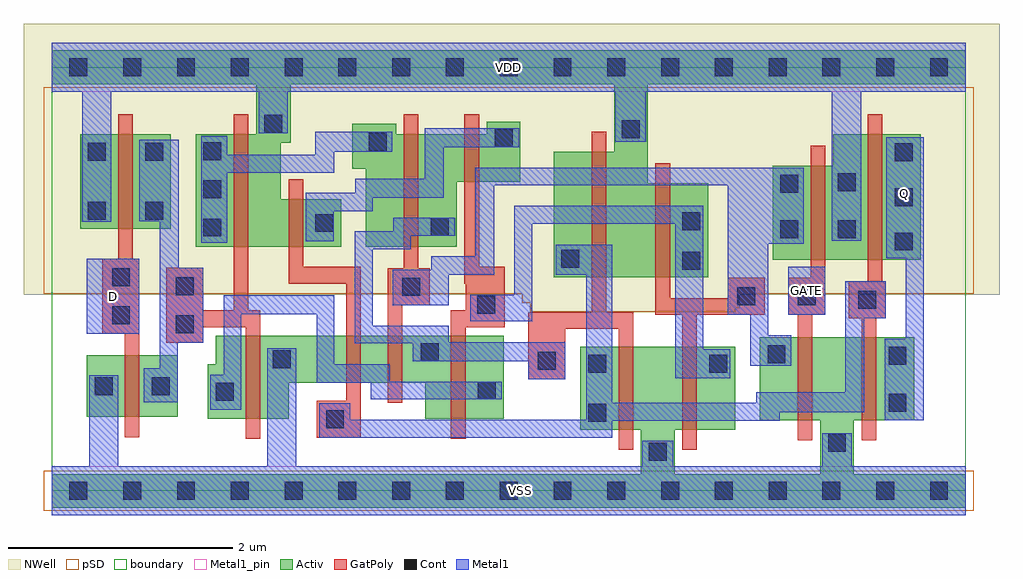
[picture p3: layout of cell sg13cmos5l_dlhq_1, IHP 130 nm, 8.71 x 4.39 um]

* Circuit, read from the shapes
.subckt sg13cmos5l_dlhq_1 D GATE Q VDD VSS
XM1 n1 D VSS VSS sg13_lv_nmos w=0.55u l=0.13u
XM2 VSS n1 n2 VSS sg13_lv_nmos w=0.74u l=0.13u
XM3 n3 n4 VSS VSS sg13_lv_nmos w=0.42u l=0.13u
XM4 n5 n6 n3 VSS sg13_lv_nmos w=0.42u l=0.13u
XM5 n2 n7 n5 VSS sg13_lv_nmos w=0.74u l=0.13u
XM6 VSS n5 n4 VSS sg13_lv_nmos w=0.74u l=0.13u
XM7 n7 n6 VSS VSS sg13_lv_nmos w=0.74u l=0.13u
XM8 VSS GATE n6 VSS sg13_lv_nmos w=0.74u l=0.13u
XM9 Q n4 VSS VSS sg13_lv_nmos w=0.74u l=0.13u
XM10 n1 D VDD VDD sg13_lv_pmos w=0.84u l=0.13u
XM11 VDD n1 n8 VDD sg13_lv_pmos w=1u l=0.13u
XM12 n9 n4 VDD VDD sg13_lv_pmos w=0.42u l=0.13u
XM13 n5 n6 n8 VDD sg13_lv_pmos w=1u l=0.13u
XM14 n9 n7 n5 VDD sg13_lv_pmos w=0.42u l=0.13u
XM15 VDD n5 n4 VDD sg13_lv_pmos w=1.12u l=0.13u
XM16 n7 n6 VDD VDD sg13_lv_pmos w=0.84u l=0.13u
XM17 VDD GATE n6 VDD sg13_lv_pmos w=0.84u l=0.13u
XM18 Q n4 VDD VDD sg13_lv_pmos w=1.12u l=0.13u
.ends

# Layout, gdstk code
import gdstk
lib = gdstk.Library(unit=1e-6, precision=1e-09)
def R(c, l, rs):  # rectangles x0, y0, x1, y1
    for r in rs: c.add(gdstk.rectangle(r[:2], r[2:], *l))
def A(c, l, x, y, w, h, nx, ny, dx, dy):  # array of equal rectangles
    R(c, l, [(x+i*dx, y+j*dy, x+i*dx+w, y+j*dy+h) for i in range(nx) for j in range(ny)])
def P(c, l, *ps):  # polygons
    for p in ps: c.add(gdstk.Polygon(p, *l))
Activ = (1, 0)
GatPoly = (5, 0)
Cont = (6, 0)
Metal1 = (8, 0)
Metal1_pin = (8, 2)
pSD = (14, 0)
NWell = (31, 0)
boundary = (189, 4)

sg13cmos5l_dlhq_1 = lib.new_cell('sg13cmos5l_dlhq_1')
R(sg13cmos5l_dlhq_1, Activ, [(0.315,0.66,1.125,1.21), (0.255,2.34,1.065,3.18)])
P(sg13cmos5l_dlhq_1, Activ, [(0,-0.15),(0,0.15),(5.26,0.15),(5.26,0.545),(4.72,0.545),(4.72,1.285),(6.1,1.285),(6.1,0.545),(5.56,0.545),(5.56,0.15),(6.86,0.15),(6.86,0.63),(6.32,0.63),(6.32,1.37),(7.7,1.37),(7.7,0.63),(7.16,0.63),(7.16,0.15),(8.16,0.15),(8.16,-0.15)],
  [(4.48,1.905),(4.48,3.025),(5.02,3.025),(5.02,3.63),(2.135,3.63),(2.135,3.105),(2.045,3.105),(2.045,2.6),(2.585,2.6),(2.585,2.18),(1.285,2.18),(1.285,3.18),(1.825,3.18),(1.825,3.63),(0,3.63),(0,3.93),(8.16,3.93),(8.16,3.63),(5.32,3.63),(5.32,2.745),(5.86,2.745),(5.86,1.905)],
  [(6.435,2.06),(6.435,2.9),(6.975,2.9),(6.975,3.18),(7.755,3.18),(7.755,2.06)],
  [(2.805,2.18),(2.805,2.875),(2.685,2.875),(2.685,3.275),(3.075,3.275),(3.075,3.18),(3.885,3.18),(3.885,3.295),(4.185,3.295),(4.185,2.76),(3.615,2.76),(3.615,2.18)],
  [(1.395,0.645),(1.395,1.13),(1.465,1.13),(1.465,1.385),(4.035,1.385),(4.035,0.645),(3.335,0.645),(3.335,0.965),(2.115,0.965),(2.115,0.645)])
P(sg13cmos5l_dlhq_1, GatPoly, [(7.23,0.45),(7.23,1.54),(7.115,1.54),(7.115,1.87),(7.285,1.87),(7.285,3.36),(7.415,3.36),(7.415,1.87),(7.445,1.87),(7.445,1.54),(7.36,1.54),(7.36,0.45)],
  [(6.66,0.45),(6.66,1.57),(6.575,1.57),(6.575,1.9),(6.775,1.9),(6.775,3.08),(6.905,3.08),(6.905,1.57),(6.79,1.57),(6.79,0.45)],
  [(5.63,0.365),(5.63,1.57),(5.39,1.57),(5.39,2.925),(5.52,2.925),(5.52,1.72),(6.035,1.72),(6.035,1.9),(6.365,1.9),(6.365,1.57),(5.76,1.57),(5.76,0.365)],
  [(5.06,0.365),(5.06,1.445),(4.585,1.445),(4.585,0.995),(4.255,0.995),(4.255,1.595),(4.82,1.595),(4.82,3.205),(4.95,3.205),(4.95,1.595),(5.19,1.595),(5.19,0.365)],
  [(3.565,0.465),(3.565,1.61),(3.695,1.61),(3.695,1.85),(3.685,1.85),(3.685,3.36),(3.815,3.36),(3.815,2),(4.045,2),(4.045,1.46),(3.695,1.46),(3.695,0.465)],
  [(3,0.785),(3,1.985),(3.145,1.985),(3.145,3.36),(3.275,3.36),(3.275,1.985),(3.375,1.985),(3.375,1.655),(3.13,1.655),(3.13,0.785)],
  [(2.365,0.475),(2.365,0.805),(2.63,0.805),(2.63,1.85),(2.115,1.85),(2.115,2.78),(2.245,2.78),(2.245,2),(2.76,2),(2.76,0.475)],
  [(1.735,0.465),(1.735,1.46),(1.355,1.46),(1.355,1.32),(1.025,1.32),(1.025,1.99),(1.355,1.99),(1.355,1.61),(1.625,1.61),(1.625,3.36),(1.755,3.36),(1.755,1.61),(1.865,1.61),(1.865,0.465)],
  [(0.655,0.48),(0.655,1.4),(0.455,1.4),(0.455,2.07),(0.595,2.07),(0.595,3.36),(0.725,3.36),(0.725,2.07),(0.785,2.07),(0.785,0.48)])
A(sg13cmos5l_dlhq_1, Cont, 0.16, -0.08, 0.16, 0.16, 17, 2, 0.48, 3.78)
A(sg13cmos5l_dlhq_1, Cont, 1.355, 2.27, 0.16, 0.16, 1, 3, 0, 0.34)
R(sg13cmos5l_dlhq_1, Cont, [(5.33,0.27,5.49,0.43), (6.93,0.35,7.09,0.51), (2.45,0.56,2.61,0.72), (4.79,0.615,4.95,0.775), (7.47,0.705,7.63,0.865), (1.465,0.805,1.625,0.965), (3.805,0.815,3.965,0.975), (0.385,0.855,0.545,1.015), (0.895,0.855,1.055,1.015), (4.79,1.055,4.95,1.215), (5.87,1.055,6.03,1.215), (4.34,1.08,4.5,1.24), (1.975,1.095,2.135,1.255), (7.47,1.125,7.63,1.285), (6.39,1.14,6.55,1.3), (3.295,1.155,3.455,1.315), (1.11,1.405,1.27,1.565), (0.54,1.485,0.7,1.645), (3.8,1.58,3.96,1.74), (7.2,1.625,7.36,1.785), (6.12,1.655,6.28,1.815), (6.66,1.655,6.82,1.815), (3.13,1.74,3.29,1.9), (1.11,1.745,1.27,1.905), (0.54,1.825,0.7,1.985), (5.63,1.975,5.79,2.135), (4.55,1.99,4.71,2.15), (7.525,2.145,7.685,2.305), (6.505,2.255,6.665,2.415), (7.015,2.255,7.175,2.415), (3.385,2.275,3.545,2.435), (2.355,2.31,2.515,2.47), (5.63,2.325,5.79,2.485), (0.325,2.42,0.485,2.58), (0.835,2.42,0.995,2.58), (7.525,2.54,7.685,2.7), (6.505,2.66,6.665,2.82), (7.015,2.675,7.175,2.835), (7.525,2.94,7.685,3.1), (0.325,2.945,0.485,3.105), (0.835,2.945,0.995,3.105), (2.83,3.035,2.99,3.195), (3.955,3.065,4.115,3.225), (5.09,3.145,5.25,3.305), (1.9,3.195,2.06,3.355)])
R(sg13cmos5l_dlhq_1, Metal1, [(0.315,1.4,0.785,2.07), (6.575,1.57,6.905,2)])
P(sg13cmos5l_dlhq_1, Metal1, [(0,-0.22),(0,0.22),(0.335,0.22),(0.335,1.03),(0.595,1.03),(0.595,0.22),(1.925,0.22),(1.925,1.27),(2.185,1.27),(2.185,0.22),(5.27,0.22),(5.27,0.445),(5.55,0.445),(5.55,0.22),(6.88,0.22),(6.88,0.515),(7.14,0.515),(7.14,0.22),(8.16,0.22),(8.16,-0.22)],
  [(6.965,2.23),(6.965,3.56),(5.305,3.56),(5.305,3.115),(5.03,3.115),(5.03,3.56),(2.11,3.56),(2.11,3.19),(1.85,3.19),(1.85,3.56),(0.535,3.56),(0.535,2.4),(0.275,2.4),(0.275,3.56),(0,3.56),(0,4),(8.16,4),(8.16,3.56),(7.225,3.56),(7.225,2.23)],
  [(7.435,0.63),(7.435,1.355),(7.625,1.355),(7.625,2.075),(7.45,2.075),(7.45,3.155),(7.785,3.155),(7.785,0.63)],
  [(2.39,0.475),(2.39,0.78),(2.665,0.78),(2.665,0.635),(4.77,0.635),(4.77,1.93),(4.5,1.93),(4.5,2.195),(5.005,2.195),(5.005,0.785),(6.29,0.785),(6.29,0.88),(7.085,0.88),(7.085,1.87),(7.445,1.87),(7.445,1.54),(7.255,1.54),(7.255,0.7),(6.5,0.7),(6.5,0.625),(5.005,0.625),(5.005,0.475)],
  [(6.235,1.115),(6.235,1.57),(6.035,1.57),(6.035,2.725),(3.95,2.725),(3.95,1.93),(3.545,1.93),(3.545,1.655),(3.045,1.655),(3.045,1.975),(3.39,1.975),(3.39,2.095),(3.78,2.095),(3.78,2.885),(6.715,2.885),(6.715,2.205),(6.395,2.205),(6.395,1.39),(6.6,1.39),(6.6,1.115)],
  [(5.565,1.005),(5.565,2.385),(4.29,2.385),(4.29,1.515),(3.735,1.515),(3.735,1.75),(4.13,1.75),(4.13,2.545),(5.815,2.545),(5.815,1.265),(6.055,1.265),(6.055,1.005)],
  [(4.255,0.995),(4.255,1.155),(3.225,1.155),(3.225,1.315),(2.705,1.315),(2.705,2.315),(3.05,2.315),(3.05,2.435),(3.6,2.435),(3.6,2.275),(3.205,2.275),(3.205,2.155),(2.865,2.155),(2.865,1.475),(3.545,1.475),(3.545,1.325),(4.585,1.325),(4.585,0.995)],
  [(2.27,2.225),(2.27,2.66),(2.71,2.66),(2.71,2.785),(3.33,2.785),(3.33,3.235),(4.175,3.235),(4.175,3.065),(3.5,3.065),(3.5,2.615),(2.865,2.615),(2.865,2.495),(2.52,2.495),(2.52,2.225)],
  [(1.415,0.725),(1.415,1.035),(1.535,1.035),(1.535,1.745),(2.525,1.745),(2.525,1.13),(3.02,1.13),(3.02,0.975),(4.02,0.975),(4.02,0.815),(2.85,0.815),(2.85,0.965),(2.365,0.965),(2.365,1.575),(1.695,1.575),(1.695,0.725)],
  [(1.335,2.215),(1.335,3.165),(1.57,3.165),(1.57,3),(2.355,3),(2.355,3.205),(3.04,3.205),(3.04,3.025),(2.525,3.025),(2.525,2.84),(1.57,2.84),(1.57,2.215)],
  [(0.825,0.79),(0.825,1.095),(0.965,1.095),(0.965,2.405),(0.785,2.405),(0.785,3.135),(1.135,3.135),(1.135,1.99),(1.355,1.99),(1.355,1.32),(1.125,1.32),(1.125,0.79)])
R(sg13cmos5l_dlhq_1, Metal1_pin, [(0,-0.22,8.16,0.22), (0.315,1.4,0.785,2.07), (6.575,1.57,6.905,2), (7.45,2.075,7.785,3.155), (0,3.56,8.16,4)])
R(sg13cmos5l_dlhq_1, pSD, [(-0.07,-0.18,8.23,0.18)])
P(sg13cmos5l_dlhq_1, pSD, [(4.275,1.6),(4.275,1.68),(4.2,1.68),(4.2,1.76),(-0.07,1.76),(-0.07,3.6),(8.23,3.6),(8.23,1.76),(6.135,1.76),(6.135,1.635),(6.1,1.635),(6.1,1.6)])
P(sg13cmos5l_dlhq_1, NWell, [(4.27,1.595),(4.27,1.675),(4.195,1.675),(4.195,1.75),(-0.25,1.75),(-0.25,4.17),(8.46,4.17),(8.46,1.75),(6.14,1.75),(6.14,1.63),(6.105,1.63),(6.105,1.595)])
R(sg13cmos5l_dlhq_1, boundary, [(0,0,8.16,3.78)])
sg13cmos5l_dlhq_1.add(gdstk.Label('GATE', (6.74,1.785), layer=8, texttype=25))
sg13cmos5l_dlhq_1.add(gdstk.Label('Q', (7.61,2.65), layer=8, texttype=25))
sg13cmos5l_dlhq_1.add(gdstk.Label('VDD', (4.08,3.78), layer=8, texttype=25))
sg13cmos5l_dlhq_1.add(gdstk.Label('VSS', (4.185,0), layer=8, texttype=25))
sg13cmos5l_dlhq_1.add(gdstk.Label('D', (0.55,1.735), layer=8, texttype=25))

lib.write_gds('sg13cmos5l_dlhq_1.gds')
